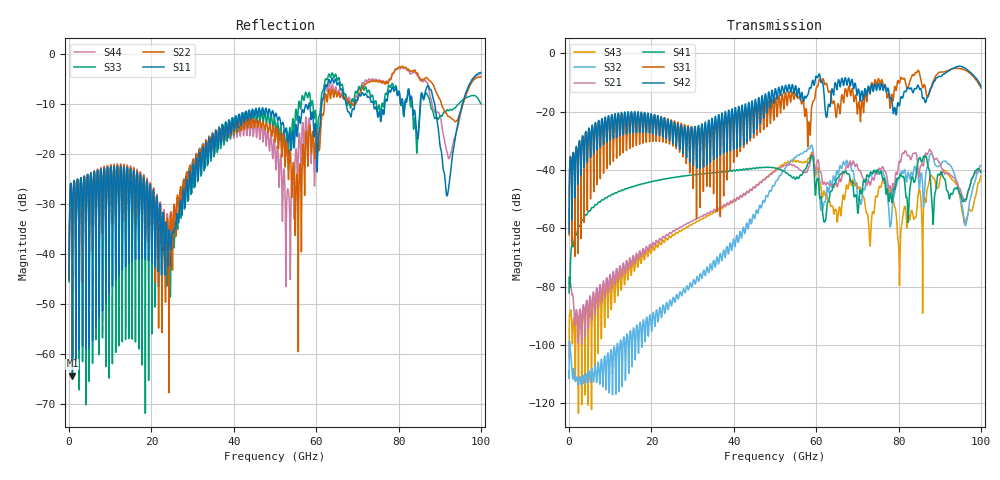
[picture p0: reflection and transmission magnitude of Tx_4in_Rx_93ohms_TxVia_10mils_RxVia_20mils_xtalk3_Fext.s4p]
! Info: Touchstone file created by Circ.  Input file=Tx_4in_Rx_93ohms_TxVia_10mils_RxVia_20mils.circ
# Hz S RI R 50
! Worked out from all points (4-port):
!   10000 points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, 10 MHz to 100 GHz, reference 50 ohm
!   strongest paths, dB at 10 MHz, 25.01 GHz, 50.01 GHz, 75.01 GHz, 100 GHz:
!     S42: -61.6, -25.6, -12.5, -10.4, -11.4
!     S31: -62.3, -25.8, -15.9, -9.0, -11.9
!     S41: -82.1, -42.7, -39.3, -40.2, -40.9
!     S21: -79.1, -61.3, -40.6, -40.9, -40.2
!     S32: -108.8, -85.8, -44.7, -40.3, -38.4
!     S43: -104.4, -62.5, -40.0, -48.1, -42.0
!   lowest |S11| = -64.4 dB at 820 MHz (marker M1), VSWR 1.00, Z = 50 - j0.0419 ohm
!   |S11| at or under -10 dB: start of sweep to 58.24 GHz; 58.44 GHz to 61.32 GHz (2.877 GHz wide, 4.8 % of centre); 88.79 GHz to 95.46 GHz (6.673 GHz wide, 7.24 % of centre)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
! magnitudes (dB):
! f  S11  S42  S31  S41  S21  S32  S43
! 10 MHz  -45.0  -61.6  -62.3  -82.1  -79.1  -108.8  -104.4
! 820 MHz  -64.4  -38.6  -38.7  -66.0  -82.6  -110.8  -99.3
! 29.48 GHz  -23.9  -30.9  -28.6  -41.8  -57.7  -78.7  -58.9
! 58.59 GHz  -11.3  -11.9  -27.2  -36.1  -37.2  -32.1  -35.3
! 80.16 GHz  -7.6  -18.1  -10.3  -42.5  -37.1  -42.7  -72.9
! 91.88 GHz  -28.2  -6.3  -6.0  -47.2  -41.3  -37.7  -41.1
! 100 GHz  -3.7  -11.4  -11.9  -40.9  -40.2  -38.4  -42.0
